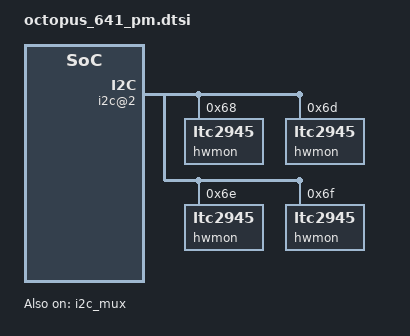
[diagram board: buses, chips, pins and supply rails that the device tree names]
// SPDX-License-Identifier: GPL-2.0
/*
 * Copyright (C) 2023 MaxLinear, Inc.
 */

&i2c_mux {
	status = "okay";

	i2c@2 {
		#address-cells = <1>;
		#size-cells = <0>;
		reg = <2>;

		hwmon@68 {
			compatible = "ltc2945";
			reg = <0x68>;
			ltc2945,resistor = <20>; /* the unit is mohm */
			rail-name = "PWR_5V_PMIC";
		};
		hwmon@6d {
			compatible = "ltc2945";
			reg = <0x6d>;
			ltc2945,resistor = <100>; /* the unit is mohm */
			rail-name = "PWR_3V3_P34";
		};
		hwmon@6e {
			compatible = "ltc2945";
			reg = <0x6e>;
			ltc2945,resistor = <25>; /* the unit is mohm */
			rail-name = "PWR_0V9_P34";
		};
		hwmon@6f {
			compatible = "ltc2945";
			reg = <0x6f>;
			ltc2945,resistor = <20>; /* the unit is mohm */
			rail-name = "PWR_12V_IN ";
		};
	};
};
